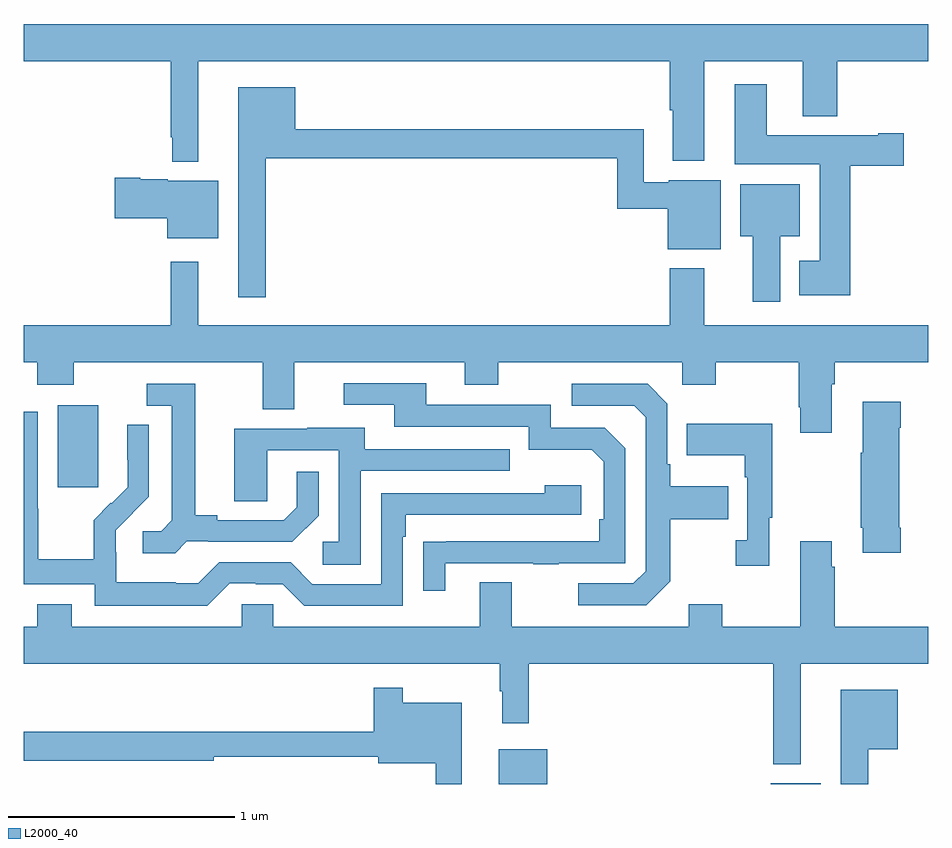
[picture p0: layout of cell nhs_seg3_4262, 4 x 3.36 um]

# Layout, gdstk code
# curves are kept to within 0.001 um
import gdstk
lib = gdstk.Library(unit=1e-6, precision=1e-09)
def R(c, l, rs):  # rectangles x0, y0, x1, y1
    for r in rs: c.add(gdstk.rectangle(r[:2], r[2:], *l))
def P(c, l, *ps):  # polygons
    for p in ps: c.add(gdstk.Polygon(p, *l))
L2000_40 = (2000, 40)

nhs_seg3_4262 = lib.new_cell('nhs_seg3_4262')
R(nhs_seg3_4262, L2000_40, [(339.101,684.4,339.316,684.553), (340.302,684.4,340.525,684.403), (337.151,685.713,337.33,686.074)])
P(nhs_seg3_4262, L2000_40, [(337.771,687.596),(339.857,687.596),(339.857,687.379),(339.869,687.379),(339.869,687.155),(340.009,687.155),(340.009,687.596),(340.445,687.596),(340.445,687.353),(340.598,687.353),(340.598,687.596),(341,687.596),(341,687.76),(337,687.76),(337,687.596),(337.65,687.596),(337.65,687.259),(337.657,687.259),(337.657,687.152),(337.771,687.152)],
  [(340.655,687.134),(340.891,687.134),(340.891,687.276),(340.778,687.276),(340.778,687.268),(340.285,687.268),(340.285,687.493),(340.145,687.493),(340.145,687.14),(340.52,687.14),(340.52,686.713),(340.43,686.713),(340.43,686.561),(340.655,686.561)],
  [(338.071,687.166),(339.625,687.166),(339.625,686.944),(339.848,686.944),(339.848,686.765),(340.081,686.765),(340.081,687.07),(339.852,687.07),(339.852,687.06),(339.741,687.06),(339.741,687.295),(338.2,687.295),(338.2,687.481),(337.949,687.481),(337.949,686.553),(338.071,686.553)],
  [(337.861,687.067),(337.638,687.067),(337.638,687.073),(337.516,687.073),(337.516,687.08),(337.404,687.08),(337.404,686.902),(337.634,686.902),(337.634,686.813),(337.861,686.813)],
  [(340.345,686.822),(340.432,686.822),(340.432,687.052),(340.169,687.052),(340.169,686.822),(340.223,686.822),(340.223,686.532),(340.345,686.532)],
  [(340.573,686.168),(340.586,686.168),(340.586,686.264),(341,686.264),(341,686.428),(340.009,686.428),(340.009,686.68),(339.857,686.68),(339.857,686.428),(337.771,686.428),(337.771,686.71),(337.65,686.71),(337.65,686.428),(337,686.428),(337,686.264),(337.061,686.264),(337.061,686.165),(337.221,686.165),(337.221,686.264),(338.057,686.264),(338.057,686.056),(338.197,686.056),(338.197,686.264),(338.951,686.264),(338.951,686.165),(339.099,686.165),(339.099,686.264),(339.912,686.264),(339.912,686.165),(340.059,686.165),(340.059,686.264),(340.426,686.264),(340.426,686.065),(340.433,686.065),(340.433,685.953),(340.573,685.953)],
  [(338.863,685.377),(339.253,685.377),(339.253,685.372),(339.365,685.372),(339.365,685.377),(339.66,685.377),(339.66,685.884),(339.57,685.974),(339.33,685.974),(339.33,686.076),(338.779,686.076),(338.779,686.172),(338.415,686.172),(338.415,686.076),(338.639,686.076),(338.639,685.98),(339.234,685.98),(339.234,685.877),(339.511,685.877),(339.564,685.824),(339.564,685.57),(339.544,685.57),(339.544,685.473),(338.767,685.472),(338.767,685.254),(338.863,685.254)],
  [(339.859,685.297),(339.859,685.57),(340.115,685.57),(340.115,685.717),(339.859,685.717),(339.859,685.813),(339.846,685.813),(339.846,686.082),(339.759,686.169),(339.423,686.169),(339.423,686.073),(339.699,686.073),(339.75,686.022),(339.75,685.341),(339.696,685.287),(339.453,685.287),(339.453,685.191),(339.753,685.191)],
  [(337.722,685.473),(337.816,685.473),(337.816,685.47),(338.188,685.47),(338.304,685.586),(338.304,685.78),(338.207,685.78),(338.207,685.623),(338.15,685.566),(337.855,685.566),(337.855,685.589),(337.759,685.589),(337.759,686.169),(337.545,686.169),(337.545,686.073),(337.655,686.073),(337.655,685.565),(337.608,685.518),(337.527,685.518),(337.527,685.421),(337.67,685.421)],
  [(340.877,685.534),(340.872,685.534),(340.872,685.976),(340.877,685.976),(340.877,686.089),(340.709,686.089),(340.709,685.865),(340.702,685.865),(340.702,685.534),(340.709,685.534),(340.709,685.422),(340.877,685.422)],
  [(337.911,685.287),(338.027,685.287),(338.027,685.284),(338.145,685.284),(338.241,685.188),(338.676,685.188),(338.676,685.493),(338.689,685.493),(338.689,685.59),(339.466,685.59),(339.466,685.72),(339.305,685.72),(339.305,685.686),(338.58,685.686),(338.58,685.284),(338.277,685.284),(338.181,685.38),(337.866,685.38),(337.773,685.287),(337.673,685.287),(337.673,685.291),(337.41,685.291),(337.41,685.425),(337.408,685.425),(337.408,685.522),(337.554,685.67),(337.554,685.988),(337.458,685.988),(337.458,685.834),(337.46,685.834),(337.46,685.712),(337.389,685.641),(337.386,685.644),(337.309,685.567),(337.309,685.393),(337.065,685.393),(337.065,685.616),(337.062,685.616),(337.062,686.046),(337,686.046),(337,685.284),(337.314,685.284),(337.314,685.187),(337.811,685.187)],
  [(340.297,685.577),(340.309,685.577),(340.309,685.993),(339.931,685.993),(339.931,685.853),(340.188,685.853),(340.188,685.757),(340.2,685.757),(340.2,685.478),(340.149,685.478),(340.149,685.365),(340.297,685.365)],
  [(338.49,685.785),(339.149,685.785),(339.149,685.881),(338.509,685.881),(338.509,685.975),(338.255,685.975),(338.255,685.971),(337.931,685.971),(337.931,685.651),(338.076,685.651),(338.076,685.875),(338.394,685.875),(338.394,685.47),(338.322,685.47),(338.322,685.369),(338.49,685.369)],
  [(339.105,684.809),(339.116,684.809),(339.116,684.669),(339.233,684.669),(339.233,684.932),(340.314,684.932),(340.314,684.488),(340.435,684.488),(340.435,684.932),(341,684.932),(341,685.096),(340.586,685.096),(340.586,685.361),(340.573,685.361),(340.573,685.474),(340.433,685.474),(340.433,685.096),(340.089,685.096),(340.089,685.195),(339.941,685.195),(339.941,685.096),(339.157,685.096),(339.157,685.291),(339.017,685.291),(339.017,685.096),(338.103,685.096),(338.103,685.194),(337.965,685.194),(337.965,685.096),(337.213,685.096),(337.213,685.195),(337.061,685.195),(337.061,685.096),(337,685.096),(337,684.932),(339.105,684.932)],
  [(338.938,684.76),(338.677,684.76),(338.677,684.826),(338.548,684.826),(338.548,684.631),(337,684.631),(337,684.502),(337.841,684.502),(337.841,684.52),(338.567,684.52),(338.567,684.491),(338.821,684.491),(338.821,684.4),(338.938,684.4)],
  [(340.735,684.554),(340.864,684.554),(340.864,684.817),(340.613,684.817),(340.613,684.4),(340.735,684.4)])

lib.write_gds('nhs_seg3_4262.gds')
